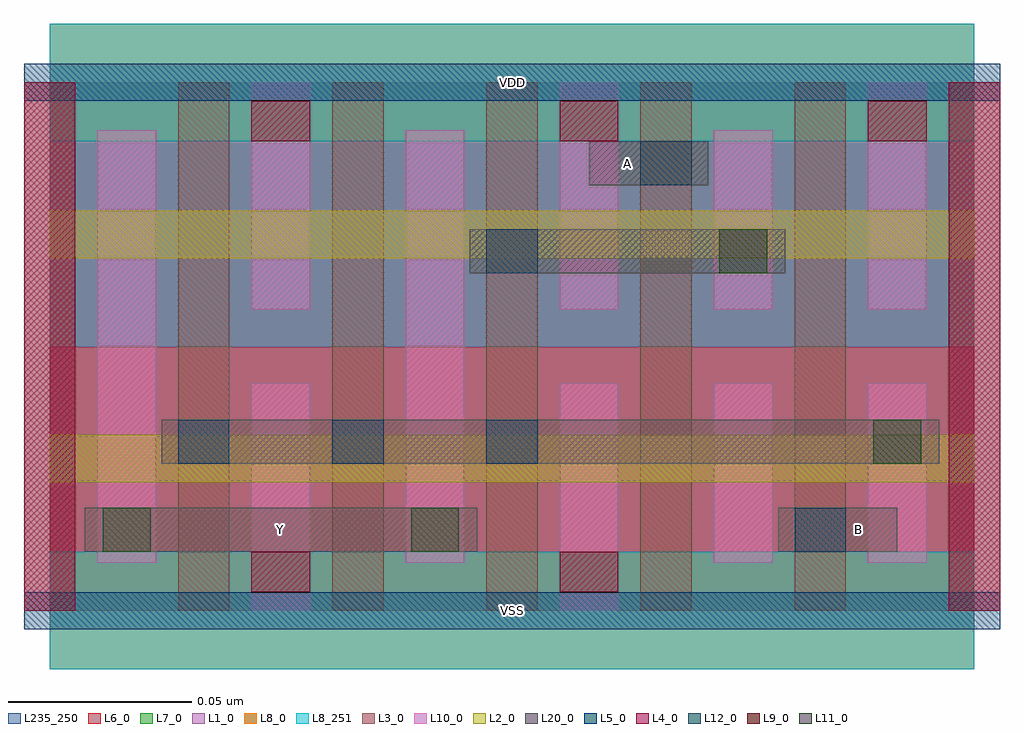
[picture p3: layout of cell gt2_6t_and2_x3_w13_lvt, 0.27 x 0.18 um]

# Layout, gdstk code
import gdstk
lib = gdstk.Library(unit=1e-6, precision=5e-10)
def R(c, l, rs):  # rectangles x0, y0, x1, y1
    for r in rs: c.add(gdstk.rectangle(r[:2], r[2:], *l))
def A(c, l, x, y, w, h, nx, ny, dx, dy):  # array of equal rectangles
    R(c, l, [(x+i*dx, y+j*dy, x+i*dx+w, y+j*dy+h) for i in range(nx) for j in range(ny)])
L1_0 = (1, 0)
L2_0 = (2, 0)
L3_0 = (3, 0)
L4_0 = (4, 0)
L5_0 = (5, 0)
L6_0 = (6, 0)
L7_0 = (7, 0)
L8_0 = (8, 0)
L8_251 = (8, 251)
L9_0 = (9, 0)
L10_0 = (10, 0)
L11_0 = (11, 0)
L12_0 = (12, 0)
L20_0 = (20, 0)
L235_250 = (235, 250)

gt2_6t_and2_x3_w13_lvt = lib.new_cell('gt2_6t_and2_x3_w13_lvt')
R(gt2_6t_and2_x3_w13_lvt, L1_0, [(0,0.072,0.252,0.144)])
R(gt2_6t_and2_x3_w13_lvt, L2_0, [(0,0.035,0.252,0.048), (0,0.096,0.252,0.109)])
A(gt2_6t_and2_x3_w13_lvt, L3_0, -0.007, 0, 0.014, 0.144, 7, 1, 0.042, 0)
R(gt2_6t_and2_x3_w13_lvt, L4_0, [(-0.007,0,0.007,0.144), (0.245,0,0.259,0.144)])
R(gt2_6t_and2_x3_w13_lvt, L5_0, [(-0.007,-0.005,0.259,0.005), (-0.007,0.139,0.259,0.149)])
R(gt2_6t_and2_x3_w13_lvt, L6_0, [(0,0,0.252,0.072)])
R(gt2_6t_and2_x3_w13_lvt, L7_0, [(0,0.072,0.252,0.144)])
R(gt2_6t_and2_x3_w13_lvt, L8_0, [(0,-0.016,0.252,0.016), (0,0.128,0.252,0.16)])
R(gt2_6t_and2_x3_w13_lvt, L8_251, [(0,-0.016,0.252,0.016), (0,0.128,0.252,0.16)])
A(gt2_6t_and2_x3_w13_lvt, L9_0, 0.055, 0.128, 0.016, 0.011, 3, 1, 0.084, 0)
R(gt2_6t_and2_x3_w13_lvt, L9_0, [(0.055,0.005,0.071,0.016), (0.139,0.005,0.155,0.016)])
A(gt2_6t_and2_x3_w13_lvt, L10_0, 0.055, 0.082, 0.016, 0.062, 3, 1, 0.084, 0)
R(gt2_6t_and2_x3_w13_lvt, L10_0, [(0.055,0,0.071,0.062), (0.139,0,0.155,0.062), (0.013,0.013,0.029,0.131), (0.097,0.013,0.113,0.131), (0.181,0.013,0.197,0.062), (0.223,0.013,0.239,0.062), (0.181,0.082,0.197,0.131)])
R(gt2_6t_and2_x3_w13_lvt, L11_0, [(0.0145,0.016,0.0275,0.028), (0.0985,0.016,0.1115,0.028), (0.2245,0.04,0.2375,0.052), (0.1825,0.092,0.1955,0.104)])
A(gt2_6t_and2_x3_w13_lvt, L12_0, 0.035, 0.04, 0.014, 0.012, 3, 1, 0.042, 0)
R(gt2_6t_and2_x3_w13_lvt, L12_0, [(0.203,0.016,0.217,0.028), (0.119,0.092,0.133,0.104), (0.161,0.116,0.175,0.128)])
R(gt2_6t_and2_x3_w13_lvt, L20_0, [(0.0095,0.016,0.1165,0.028), (0.1985,0.016,0.231,0.028), (0.0305,0.04,0.2425,0.052), (0.1145,0.092,0.2005,0.104), (0.147,0.116,0.1795,0.128)])
R(gt2_6t_and2_x3_w13_lvt, L235_250, [(0,0,0.252,0.144)])
gt2_6t_and2_x3_w13_lvt.add(gdstk.Label('VSS', (0.126,0), layer=8, texttype=251))
gt2_6t_and2_x3_w13_lvt.add(gdstk.Label('VDD', (0.126,0.144), layer=8, texttype=251))
gt2_6t_and2_x3_w13_lvt.add(gdstk.Label('Y', (0.063,0.022), layer=20, texttype=251))
gt2_6t_and2_x3_w13_lvt.add(gdstk.Label('A', (0.1575,0.122), layer=20, texttype=251))
gt2_6t_and2_x3_w13_lvt.add(gdstk.Label('B', (0.2205,0.022), layer=20, texttype=251))

lib.write_gds('gt2_6t_and2_x3_w13_lvt.gds')
